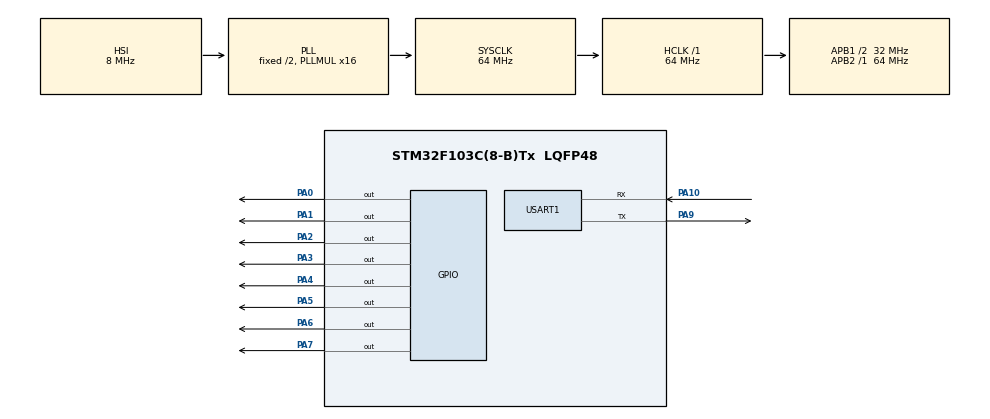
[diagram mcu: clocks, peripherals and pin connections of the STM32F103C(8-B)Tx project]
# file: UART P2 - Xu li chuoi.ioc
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Mcu.Family=STM32F1
Mcu.Name=STM32F103C(8-B)Tx
Mcu.Package=LQFP48
NVIC.PriorityGroup=NVIC_PRIORITYGROUP_4
NVIC.USART1_IRQn=true\:1\:0\:true\:false\:true\:true\:true
PA0-WKUP.Signal=GPIO_Output
PA1.Signal=GPIO_Output
PA10.Mode=Asynchronous
PA10.Signal=USART1_RX
PA13.Mode=Serial_Wire
PA13.Signal=SYS_JTMS-SWDIO
PA14.Mode=Serial_Wire
PA14.Signal=SYS_JTCK-SWCLK
PA2.Signal=GPIO_Output
PA3.Signal=GPIO_Output
PA4.Signal=GPIO_Output
PA5.Signal=GPIO_Output
PA6.Signal=GPIO_Output
PA7.Signal=GPIO_Output
PA9.Mode=Asynchronous
PA9.Signal=USART1_TX
ProjectManager.HeapSize=0x200
ProjectManager.StackSize=0x400
ProjectManager.TargetToolchain=MDK-ARM V5.32
RCC.AHBFreq_Value=64000000
RCC.APB1CLKDivider=RCC_HCLK_DIV2
RCC.APB1Freq_Value=32000000
RCC.APB1TimFreq_Value=64000000
RCC.APB2Freq_Value=64000000
RCC.APB2TimFreq_Value=64000000
RCC.HCLKFreq_Value=64000000
RCC.PLLMUL=RCC_PLL_MUL16
RCC.SYSCLKFreq_VALUE=64000000
RCC.SYSCLKSource=RCC_SYSCLKSOURCE_PLLCLK
RCC.USBFreq_Value=64000000
USART1.VirtualMode=VM_ASYNC
board=custom

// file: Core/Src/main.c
/* USER CODE BEGIN Header */
/**
  ******************************************************************************
  * @file           : main.c
  * @brief          : Main program body
  ******************************************************************************
  * @attention
  *
  * <h2><center>&copy; Copyright (c) 2021 STMicroelectronics.
  * All rights reserved.</center></h2>
  *
  * This software component is licensed by ST under BSD 3-Clause license,
  * the "License"; You may not use this file except in compliance with the
  * License. You may obtain a copy of the License at:
  *                        opensource.org/licenses/BSD-3-Clause
  *
  ******************************************************************************
  */
/* USER CODE END Header */
#include "main.h"

/* USER CODE BEGIN Includes */
#include <string.h>

/* USER CODE END Includes */

UART_HandleTypeDef huart1;

void SystemClock_Config(void);
static void MX_GPIO_Init(void);
static void MX_USART1_UART_Init(void);

/* USER CODE BEGIN 0 */
#define CMD_ON  "ledon"
#define CMD_OFF  "ledoff"
uint8_t data_uart;
#define UART_LEN	100
uint8_t buff_uart[UART_LEN];
uint8_t index_uart = 0;
uint8_t flag_uart = 0;
void set_led(uint8_t led, uint8_t sta)
{
	HAL_GPIO_WritePin(GPIOA, GPIO_PIN_0 << led, sta);
}
int8_t find_number_command(uint8_t *buff_src,char *cmd,
                        uint16_t *data_out, uint8_t *len)
{
    char *pCmd = strstr((char *)buff_src,cmd);
    if(pCmd != NULL)
    {
        pCmd += strlen(cmd);
        if(*pCmd == ':')
        {
             uint16_t number = 0;
             pCmd++;
             *len = 0;
             while(pCmd != NULL)
             {
               if(*pCmd >= '0' && *pCmd <= '9')
               {
                   number *= 10;
                   number += (*pCmd - '0');
               }
               else if(*pCmd == ',')
               {
                  data_out[(*len)++] = number;
                  number = 0;
               }
               else if(*pCmd == ';')
               {
                   data_out[(*len)++] = number;
                   break;
               }
               pCmd++;
             }
             //printf("%s",pCmd);
              return 0;
        }
    }
    return -1;
}
void HAL_UART_RxCpltCallback(UART_HandleTypeDef *huart)
{
	if(huart->Instance == huart1.Instance)
	{
		if(data_uart != '\n')
		{
			buff_uart[index_uart++] = data_uart;
		}
		else
		{
			flag_uart = 1;
		}
		HAL_UART_Receive_IT(&huart1,&data_uart,1);
	}
}
uint16_t data[100];
uint8_t len;
/* USER CODE END 0 */

int main(void)
{

  /* MCU Configuration--------------------------------------------------------*/

  /* Reset of all peripherals, Initializes the Flash interface and the Systick. */
  HAL_Init();

  /* Configure the system clock */
  SystemClock_Config();

  /* Initialize all configured peripherals */
  MX_GPIO_Init();
  MX_USART1_UART_Init();
  /* USER CODE BEGIN 2 */
	HAL_UART_Receive_IT(&huart1,&data_uart,1);
  /* USER CODE END 2 */

  /* Infinite loop */
  while (1)
  {

    /* USER CODE BEGIN 3 */
		if(flag_uart)
		{

			if (find_number_command(buff_uart,CMD_ON, data, &len) == 0)
			{
				for(uint8_t i =0 ;i<len; i++)
				{
					set_led(data[i],1);
				}
			}
			if (find_number_command(buff_uart,CMD_OFF, data, &len) == 0)
			{
				for(uint8_t i =0 ;i<len; i++)
				{
					set_led(data[i],0);
				}
			}
			memset(buff_uart,0,UART_LEN);
			index_uart = 0;
			flag_uart = 0;
		}
  }
  /* USER CODE END 3 */
}

void SystemClock_Config(void)
{
  RCC_OscInitTypeDef RCC_OscInitStruct = {0};
  RCC_ClkInitTypeDef RCC_ClkInitStruct = {0};

  /** Initializes the RCC Oscillators according to the specified parameters
  * in the RCC_OscInitTypeDef structure.
  */
  RCC_OscInitStruct.OscillatorType = RCC_OSCILLATORTYPE_HSI;
  RCC_OscInitStruct.HSIState = RCC_HSI_ON;
  RCC_OscInitStruct.HSICalibrationValue = RCC_HSICALIBRATION_DEFAULT;
  RCC_OscInitStruct.PLL.PLLState = RCC_PLL_ON;
  RCC_OscInitStruct.PLL.PLLSource = RCC_PLLSOURCE_HSI_DIV2;
  RCC_OscInitStruct.PLL.PLLMUL = RCC_PLL_MUL16;
  if (HAL_RCC_OscConfig(&RCC_OscInitStruct) != HAL_OK)
  {
    Error_Handler();
  }
  /** Initializes the CPU, AHB and APB buses clocks
  */
  RCC_ClkInitStruct.ClockType = RCC_CLOCKTYPE_HCLK|RCC_CLOCKTYPE_SYSCLK
                              |RCC_CLOCKTYPE_PCLK1|RCC_CLOCKTYPE_PCLK2;
  RCC_ClkInitStruct.SYSCLKSource = RCC_SYSCLKSOURCE_PLLCLK;
  RCC_ClkInitStruct.AHBCLKDivider = RCC_SYSCLK_DIV1;
  RCC_ClkInitStruct.APB1CLKDivider = RCC_HCLK_DIV2;
  RCC_ClkInitStruct.APB2CLKDivider = RCC_HCLK_DIV1;

  if (HAL_RCC_ClockConfig(&RCC_ClkInitStruct, FLASH_LATENCY_2) != HAL_OK)
  {
    Error_Handler();
  }
}

static void MX_USART1_UART_Init(void)
{

  huart1.Instance = USART1;
  huart1.Init.BaudRate = 115200;
  huart1.Init.WordLength = UART_WORDLENGTH_8B;
  huart1.Init.StopBits = UART_STOPBITS_1;
  huart1.Init.Parity = UART_PARITY_NONE;
  huart1.Init.Mode = UART_MODE_TX_RX;
  huart1.Init.HwFlowCtl = UART_HWCONTROL_NONE;
  huart1.Init.OverSampling = UART_OVERSAMPLING_16;
  if (HAL_UART_Init(&huart1) != HAL_OK)
  {
    Error_Handler();
  }

}

static void MX_GPIO_Init(void)
{
  GPIO_InitTypeDef GPIO_InitStruct = {0};

  /* GPIO Ports Clock Enable */
  __HAL_RCC_GPIOA_CLK_ENABLE();

  /*Configure GPIO pin Output Level */
  HAL_GPIO_WritePin(GPIOA, GPIO_PIN_0|GPIO_PIN_1|GPIO_PIN_2|GPIO_PIN_3
                          |GPIO_PIN_4|GPIO_PIN_5|GPIO_PIN_6|GPIO_PIN_7, GPIO_PIN_RESET);

  /*Configure GPIO pins : PA0 PA1 PA2 PA3
                           PA4 PA5 PA6 PA7 */
  GPIO_InitStruct.Pin = GPIO_PIN_0|GPIO_PIN_1|GPIO_PIN_2|GPIO_PIN_3
                          |GPIO_PIN_4|GPIO_PIN_5|GPIO_PIN_6|GPIO_PIN_7;
  GPIO_InitStruct.Mode = GPIO_MODE_OUTPUT_PP;
  GPIO_InitStruct.Pull = GPIO_NOPULL;
  GPIO_InitStruct.Speed = GPIO_SPEED_FREQ_LOW;
  HAL_GPIO_Init(GPIOA, &GPIO_InitStruct);

}

void Error_Handler(void)
{
  __disable_irq();
  while (1)
  {
  }
}

/************************ (C) COPYRIGHT STMicroelectronics *****END OF FILE****/
